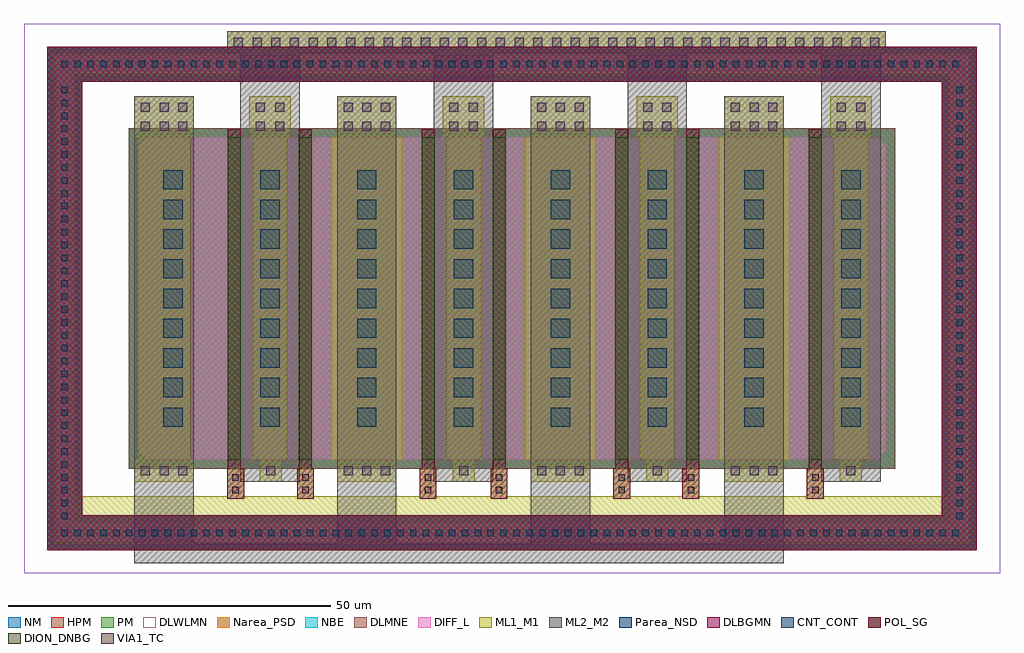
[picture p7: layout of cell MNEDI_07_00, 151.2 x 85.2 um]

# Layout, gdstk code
from math import pi, radians
import gdstk
lib = gdstk.Library(unit=1e-6, precision=1e-09)
def R(c, l, rs):  # rectangles x0, y0, x1, y1
    for r in rs: c.add(gdstk.rectangle(r[:2], r[2:], *l))
def A(c, l, x, y, w, h, nx, ny, dx, dy):  # array of equal rectangles
    R(c, l, [(x+i*dx, y+j*dy, x+i*dx+w, y+j*dy+h) for i in range(nx) for j in range(ny)])
def P(c, l, *ps):  # polygons
    for p in ps: c.add(gdstk.Polygon(p, *l))
DIFF_L = (3, 0)
NM = (7, 0)
POL_SG = (8, 0)
Narea_PSD = (9, 0)
CNT_CONT = (11, 0)
ML1_M1 = (13, 0)
VIA1_TC = (19, 0)
ML2_M2 = (20, 0)
Parea_NSD = (28, 0)
HPM = (33, 0)
PM = (35, 0)
DION_DNBG = (117, 0)
NBE = (147, 0)
DLWLMN = (151, 0)
DLMNE = (170, 0)
DLBGMN = (178, 0)

bgmn_cdns_696586951420 = lib.new_cell('BGMN_CDNS_696586951420')
R(bgmn_cdns_696586951420, DIFF_L, [(0,0,141.2,2.6)])
R(bgmn_cdns_696586951420, NM, [(-1.4,-1.4,142.6,4)])
A(bgmn_cdns_696586951420, CNT_CONT, 0.8, 0.8, 1, 1, 70, 1, 2, 0)
R(bgmn_cdns_696586951420, ML1_M1, [(0,0,141.2,2.6)])
R(bgmn_cdns_696586951420, Parea_NSD, [(-1.4,-1.4,142.6,4)])
R(bgmn_cdns_696586951420, HPM, [(-1.4,-1.4,142.6,4)])
R(bgmn_cdns_696586951420, PM, [(-1.4,-1.4,142.6,4)])

mne_cdns_696586951421 = lib.new_cell('MNE_CDNS_696586951421')
R(mne_cdns_696586951421, DIFF_L, [(10,0,12,50)])
P(mne_cdns_696586951421, DIFF_L, [(12,0),(12,50),(24.6,50),(26,48.6),(26,1.4),(24.6,0)],
  [(1.4,0),(0,1.4),(0,48.6),(1.4,50),(10,50),(10,0)])
R(mne_cdns_696586951421, NM, [(-1.4,-1.4,27.4,51.4)])
R(mne_cdns_696586951421, POL_SG, [(10,-1.2,12,0), (10,-1.2,12,51.2), (10,50,12,51.2)])
R(mne_cdns_696586951421, Narea_PSD, [(-1.4,-1.4,27.4,51.4)])
A(mne_cdns_696586951421, CNT_CONT, 4, 5.1, 3, 3, 1, 9, 0, 4.6)
A(mne_cdns_696586951421, CNT_CONT, 19, 5.1, 3, 3, 1, 9, 0, 4.6)
R(mne_cdns_696586951421, ML1_M1, [(2.8,0,8.2,50), (17.8,0,26,50)])
R(mne_cdns_696586951421, HPM, [(-1.4,-1.4,27.4,51.4)])
R(mne_cdns_696586951421, PM, [(-1.4,-1.4,27.4,51.4)])
R(mne_cdns_696586951421, DION_DNBG, [(10,0,12,50)])
R(mne_cdns_696586951421, NBE, [(-1.4,-1.4,27.4,51.4)])
R(mne_cdns_696586951421, DLMNE, [(-1.4,-1.4,27.4,51.4)])

bgmn_cdns_696586951422 = lib.new_cell('BGMN_CDNS_696586951422')
R(bgmn_cdns_696586951422, DIFF_L, [(0,0,70,2.6)])
R(bgmn_cdns_696586951422, NM, [(-1.4,-1.4,71.4,4)])
A(bgmn_cdns_696586951422, CNT_CONT, 0.8, 0.8, 1, 1, 34, 1, 2, 0)
R(bgmn_cdns_696586951422, ML1_M1, [(0,0,70,2.6)])
R(bgmn_cdns_696586951422, Parea_NSD, [(-1.4,-1.4,71.4,4)])
R(bgmn_cdns_696586951422, HPM, [(-1.4,-1.4,71.4,4)])
R(bgmn_cdns_696586951422, PM, [(-1.4,-1.4,71.4,4)])

wlmn_cdns_696586951423 = lib.new_cell('WLMN_CDNS_696586951423')
R(wlmn_cdns_696586951423, DLWLMN, [(0,0,151.2,85.2)])

tc14_cdns_696586951420 = lib.new_cell('TC14_CDNS_696586951420')
R(tc14_cdns_696586951420, ML1_M1, [(-4.6,-3.1,4.6,3.2)])
A(tc14_cdns_696586951420, VIA1_TC, -3.6, -2.1, 1.4, 1.4, 3, 2, 2.9, 2.9)
R(tc14_cdns_696586951420, ML2_M2, [(-4.6,-3.1,4.6,3.2)])

tc14_cdns_696586951421 = lib.new_cell('TC14_CDNS_696586951421')
R(tc14_cdns_696586951421, ML1_M1, [(-1.7,-3.1,1.7,3.2)])
R(tc14_cdns_696586951421, VIA1_TC, [(-0.7,-2.1,0.7,-0.7), (-0.7,0.8,0.7,2.2)])
R(tc14_cdns_696586951421, ML2_M2, [(-1.7,-3.1,1.7,3.2)])

tc14_cdns_696586951422 = lib.new_cell('TC14_CDNS_696586951422')
R(tc14_cdns_696586951422, ML1_M1, [(-4.6,-1.7,4.6,1.7)])
A(tc14_cdns_696586951422, VIA1_TC, -3.6, -0.7, 1.4, 1.4, 3, 1, 2.9, 0)
R(tc14_cdns_696586951422, ML2_M2, [(-4.6,-1.7,4.6,1.7)])

tc14_cdns_696586951423 = lib.new_cell('TC14_CDNS_696586951423')
R(tc14_cdns_696586951423, ML1_M1, [(-1.7,-1.7,1.7,1.7)])
R(tc14_cdns_696586951423, VIA1_TC, [(-0.7,-0.7,0.7,0.7)])
R(tc14_cdns_696586951423, ML2_M2, [(-1.7,-1.7,1.7,1.7)])

sgct_cdns_696586951424 = lib.new_cell('SGCT_CDNS_696586951424')
R(sgct_cdns_696586951424, POL_SG, [(-1.3,-2.3,1.3,2.3)])
R(sgct_cdns_696586951424, CNT_CONT, [(-0.5,-1.5,0.5,-0.5), (-0.5,0.5,0.5,1.5)])
R(sgct_cdns_696586951424, ML1_M1, [(-1.3,-2.3,1.3,2.3)])

tc14_cdns_696586951425 = lib.new_cell('TC14_CDNS_696586951425')
R(tc14_cdns_696586951425, ML1_M1, [(-51,-1.7,51,1.7)])
A(tc14_cdns_696586951425, VIA1_TC, -50, -0.7, 1.4, 1.4, 35, 1, 2.9, 0)
R(tc14_cdns_696586951425, ML2_M2, [(-51,-1.7,51,1.7)])

mnedi_07_00 = lib.new_cell('MNEDI_07_00')
R(mnedi_07_00, POL_SG, [(31.6,16.2,33.6,16.4), (42.6,16.2,44.6,16.4), (61.6,16.2,63.6,16.4), (72.6,16.2,74.6,16.4), (91.6,16.2,93.6,16.4), (102.6,16.2,104.6,16.4), (121.6,16.2,123.6,16.4)])
R(mnedi_07_00, ML1_M1, [(7.6,7.6,146.6,12)])
A(mnedi_07_00, ML2_M2, 48.5, 1.6, 9.2, 72.3, 3, 1, 30, 0)
A(mnedi_07_00, ML2_M2, 33.5, 14.2, 9.2, 69.8, 4, 1, 30, 0)
R(mnedi_07_00, ML2_M2, [(17.1,1.6,18.6,3.1), (17.1,1.6,26.3,73.9), (31.5,83,32.5,84)])
R(mnedi_07_00, Parea_NSD, [(142.2,6.2,147.6,79)])
R(mnedi_07_00, DLBGMN, [(3.6,3.6,147.6,9), (3.6,6.2,9,79), (142.2,6.2,147.6,79), (3.6,76.2,147.6,81.6)])
mnedi_07_00.add(gdstk.FlexPath([(4.2,78.9),(146.6,78.9)], 3.4, ends="flush", simple_path=True, layer=13, datatype=0))  # ML1_M1
mnedi_07_00.add(gdstk.FlexPath([(6.3,4.6),(6.3,80.6)], 3.4, ends="flush", simple_path=True, layer=13, datatype=0))  # ML1_M1
mnedi_07_00.add(gdstk.FlexPath([(4.6,6.3),(146.6,6.3)], 3.4, ends="flush", simple_path=True, layer=13, datatype=0))  # ML1_M1
mnedi_07_00.add(gdstk.FlexPath([(144.9,4.6),(144.9,80.6)], 3.4, ends="flush", simple_path=True, layer=13, datatype=0))  # ML1_M1
mnedi_07_00.add(gdstk.FlexPath([(117.7,3.1),(17.1,3.1)], 3, ends="flush", simple_path=True, layer=20, datatype=0))  # ML2_M2
mnedi_07_00.add(gdstk.Reference(bgmn_cdns_696586951420, (5,77.6)))
mnedi_07_00.add(gdstk.Reference(bgmn_cdns_696586951420, (5,5)))
mnedi_07_00.add(gdstk.Reference(mne_cdns_696586951421, (103.6,17.6), rotation=pi, x_reflection=True))
mnedi_07_00.add(gdstk.Reference(mne_cdns_696586951421, (73.6,17.6), rotation=pi, x_reflection=True))
mnedi_07_00.add(gdstk.Reference(mne_cdns_696586951421, (92.6,17.6)))
mnedi_07_00.add(gdstk.Reference(mne_cdns_696586951421, (32.6,17.6)))
mnedi_07_00.add(gdstk.Reference(mne_cdns_696586951421, (62.6,17.6)))
mnedi_07_00.add(gdstk.Reference(mne_cdns_696586951421, (43.6,17.6), rotation=pi, x_reflection=True))
mnedi_07_00.add(gdstk.Reference(mne_cdns_696586951421, (133.6,17.6), rotation=pi, x_reflection=True))
mnedi_07_00.add(gdstk.Reference(bgmn_cdns_696586951422, (7.6,7.6), rotation=pi/2))
mnedi_07_00.add(gdstk.Reference(bgmn_cdns_696586951422, (146.2,7.6), rotation=pi/2))
mnedi_07_00.add(gdstk.Reference(wlmn_cdns_696586951423, (0,0)))
mnedi_07_00.add(gdstk.Reference(tc14_cdns_696586951420, (113.1,70.7)))
mnedi_07_00.add(gdstk.Reference(tc14_cdns_696586951420, (83.1,70.7)))
mnedi_07_00.add(gdstk.Reference(tc14_cdns_696586951420, (53.1,70.7)))
mnedi_07_00.add(gdstk.Reference(tc14_cdns_696586951420, (21.7,70.7)))
mnedi_07_00.add(gdstk.Reference(tc14_cdns_696586951421, (129.6,70.7)))
mnedi_07_00.add(gdstk.Reference(tc14_cdns_696586951421, (126.6,70.7)))
mnedi_07_00.add(gdstk.Reference(tc14_cdns_696586951421, (99.6,70.7)))
mnedi_07_00.add(gdstk.Reference(tc14_cdns_696586951421, (96.6,70.7)))
mnedi_07_00.add(gdstk.Reference(tc14_cdns_696586951421, (69.6,70.7)))
mnedi_07_00.add(gdstk.Reference(tc14_cdns_696586951421, (66.6,70.7)))
mnedi_07_00.add(gdstk.Reference(tc14_cdns_696586951421, (39.6,70.7)))
mnedi_07_00.add(gdstk.Reference(tc14_cdns_696586951421, (36.6,70.7)))
mnedi_07_00.add(gdstk.Reference(tc14_cdns_696586951422, (113.1,15.9)))
mnedi_07_00.add(gdstk.Reference(tc14_cdns_696586951422, (83.1,15.9)))
mnedi_07_00.add(gdstk.Reference(tc14_cdns_696586951422, (53.1,15.9)))
mnedi_07_00.add(gdstk.Reference(tc14_cdns_696586951422, (21.7,15.9)))
mnedi_07_00.add(gdstk.Reference(tc14_cdns_696586951423, (128.1,15.9)))
mnedi_07_00.add(gdstk.Reference(tc14_cdns_696586951423, (98.1,15.9)))
mnedi_07_00.add(gdstk.Reference(tc14_cdns_696586951423, (68.1,15.9)))
mnedi_07_00.add(gdstk.Reference(tc14_cdns_696586951423, (38.2,15.9)))
mnedi_07_00.add(gdstk.Reference(sgct_cdns_696586951424, (122.6,13.9)))
mnedi_07_00.add(gdstk.Reference(sgct_cdns_696586951424, (103.3,13.9)))
mnedi_07_00.add(gdstk.Reference(sgct_cdns_696586951424, (92.6,13.9)))
mnedi_07_00.add(gdstk.Reference(sgct_cdns_696586951424, (73.6,13.9)))
mnedi_07_00.add(gdstk.Reference(sgct_cdns_696586951424, (62.6,13.9)))
mnedi_07_00.add(gdstk.Reference(sgct_cdns_696586951424, (43.6,13.9)))
mnedi_07_00.add(gdstk.Reference(sgct_cdns_696586951424, (32.8,13.9)))
mnedi_07_00.add(gdstk.Reference(tc14_cdns_696586951425, (82.5,82.3)))

lib.write_gds('MNEDI_07_00.gds')
